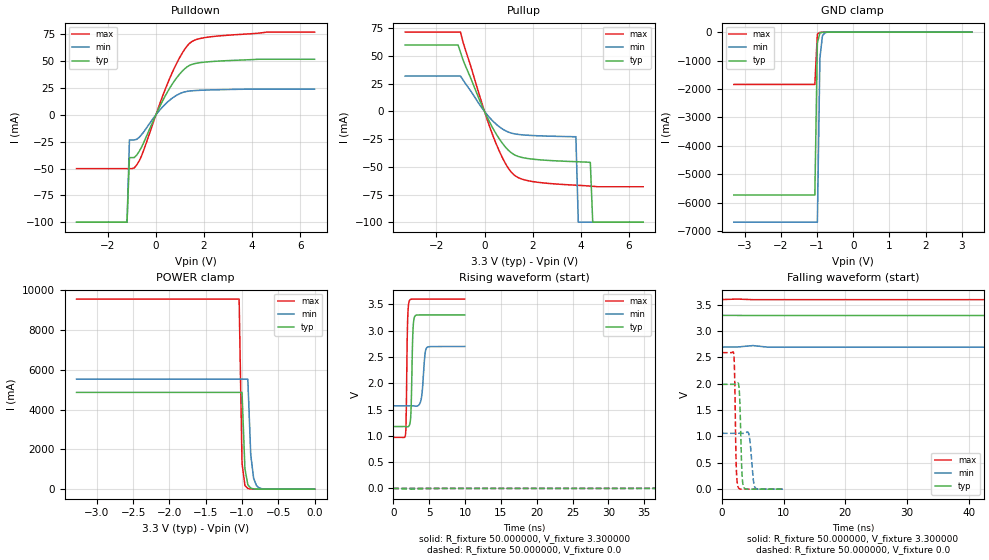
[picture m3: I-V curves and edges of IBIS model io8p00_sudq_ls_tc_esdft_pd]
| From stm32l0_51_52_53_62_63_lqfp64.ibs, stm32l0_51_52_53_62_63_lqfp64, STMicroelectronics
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|   Model io8p00_sudq_ls_tc_esdft_pd
[Model]  io8p00_sudq_ls_tc_esdft_pd
Model_type I/O
Polarity   Non-Inverting
Enable   Active-Low
Vinl =   0.990000V
Vinh =   2.310000V
Vmeas =  1.650000V
Cref =   50.000000pF
Rref =   100.000000M
Vref =   0.0V
C_comp   2.248300pF   2.207300pF   2.311900pF
[Temperature Range]   25.000000   0.125000k   -40.000000
[Pullup Reference]   3.300000V   2.700000V   3.600000V
[Pulldown Reference]   0.0V   0.0V   0.0V
[POWER Clamp Reference]   3.300000V   2.700000V   3.600000V
[GND Clamp Reference]   0.0V   0.0V   0.0V
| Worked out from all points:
|   slope of the pulldown table from 0 to 0.495 V, typ, clamps not added: 22.6 ohm
|   slope of the pullup table from 0 to 0.495 V, typ, clamps not added: 23.9 ohm
|   GND clamp passes 1 mA (typ) near -0.64 V on its own axis
|   POWER clamp passes 1 mA (typ) near -0.63 V on its own axis
|   rising waveform, R_fixture 50.000000, V_fixture 3.300000: 20-80 % time 209ps typ, 363ps min, 164ps max; typ from 1.18 V to 3.3 V
|   rising waveform, R_fixture 50.000000, V_fixture 0.0: 20-80 % time 210ns typ, 427ns min, 103ns max; typ from 0 V to 1.99 V
|   falling waveform, R_fixture 50.000000, V_fixture 3.300000: 20-80 % time 193ns typ, 384ns min, 106ns max; typ from 3.3 V to 1.18 V
|   falling waveform, R_fixture 50.000000, V_fixture 0.0: 20-80 % time 290ps typ, 458ps min, 227ps max; typ from 1.99 V to 0 V
[Pulldown]
|Voltage   I(typ)   I(min)   I(max)
-3.3V     -100mA     -100mA     -50.11mA
-1.2V     -100mA     -100mA     -50.11mA
-1.1V     -39.8mA    -23.38mA   -50.11mA
-900mV    -39.8mA    -23.38mA   -49.43mA
-600mV    -30.26mA   -18.59mA   -38.38mA
500mV     22.11mA    12.28mA    30.06mA
900mV     35.58mA    18.71mA    49.62mA
1.3V      44.74mA    21.88mA    64.23mA
1.7V      48.13mA    22.72mA    70.3mA
2.4V      49.79mA    23.3mA     73.03mA
4.6V      51.8mA     24mA       77.1mA
6.6V      51.8mA     24mA       77.1mA
[Pullup]
|Voltage   I(typ)   I(min)   I(max)
-3.3V     60mA       32mA       71.7mA
-1.1V     60mA       32mA       71.7mA
-1V       53.5mA     32mA       71.7mA
-100mV    4.893mA    2.926mA    6.861mA
400mV     -17.21mA   -9.812mA   -24.69mA
900mV     -32.92mA   -17.72mA   -48.15mA
1.3V      -39.75mA   -20.4mA    -58.47mA
3.8V      -45.36mA   -22.8mA    -66.6mA
3.9V      -45.44mA   -100mA     -66.72mA
4.4V      -46mA      -100mA     -67.4mA
4.5V      -100mA     -100mA     -67.56mA
6.6V      -100mA     -100mA     -68mA
[GND_clamp]
|Voltage   I(typ)   I(min)   I(max)
-3.3V     -5.732A    -6.689A    -1.842A
-1.06V    -5.732A    -6.689A    -1.842A
-990mV    -389.4mA   -6.689A    -68.35mA
-920mV    -32.58mA   -918.2mA   -10.73mA
-850mV    -6.776mA   -131mA     -6.518mA
-780mV    -3.484mA   -21.02mA   -4.216mA
3.28V     74.9uA     89.13uA    52.44uA
[POWER_clamp]
|Voltage   I(typ)   I(min)   I(max)
-3.28V    4.87A      5.538A     9.569A
-1.04V    4.87A      5.538A     9.569A
-1V       4.87A      5.538A     1.315A
-960mV    1.032A     5.538A     186.5mA
-920mV    222.2mA    5.538A     31.64mA
-880mV    50.73mA    1.734A     9.582mA
-840mV    13.93mA    544.8mA    5.668mA
-800mV    5.556mA    172.7mA    4.276mA
-760mV    3.231mA    55.84mA    3.297mA
-680mV    1.597mA    6.983mA    1.741mA
0V        0A         0A         0A
[Ramp]
| variable   typ   min   max
dV/dt_r  1.19412/0.20970u   0.60618/0.42769u   1.55520/0.10339u
dV/dt_f  1.27242/0.19304u   0.63624/0.38498u   1.57760/0.10596u
R_load = 50.000000
[Rising Waveform]
R_fixture= 50.000000
V_fixture= 3.300000
V_fixture_min= 2.700000
V_fixture_max= 3.600000
|time   V(typ)   V(min)   V(max)
0s        1.176V     1.571V     969.9mV
1.702ns   1.176V     1.571V     1.02V
2.002ns   1.172V     1.571V     3.192V
2.262ns   1.207V     1.571V     3.571V
2.482ns   1.517V     1.571V     3.595V
2.743ns   2.989V     1.569V     3.598V
2.963ns   3.261V     1.567V     3.599V
3.904ns   3.298V     1.705V     3.599V
4.645ns   3.299V     2.67V      3.599V
9.97ns    3.299V     2.698V     3.599V
[Rising Waveform]
R_fixture= 50.000000
V_fixture= 0.0
V_fixture_min= 0.0
V_fixture_max= 0.0
|time   V(typ)   V(min)   V(max)
0s        1.794nV    13.74nV    3.926nV
55.06ns   275.8uV    -16.63uV   81.26mV
112.6ns   80.83mV    125.2uV    963.1mV
177.7ns   429mV      2.008mV    1.946V
215.2ns   684.1mV    10.02mV    2.277V
272.8ns   1.075V     45.95mV    2.493V
412.9ns   1.683V     221.8mV    2.581V
545.5ns   1.894V     454.1mV    2.591V
858.4ns   1.983V     872.6mV    2.592V
1.246us   1.99V      1.06V      2.592V
[Falling Waveform]
R_fixture= 50.000000
V_fixture= 3.300000
V_fixture_min= 2.700000
V_fixture_max= 3.600000
|time   V(typ)   V(min)   V(max)
0s        3.299V     2.698V     3.599V
82.58ns   3.296V     2.695V     3.494V
145.1ns   3.209V     2.695V     2.587V
210.2ns   2.863V     2.692V     1.628V
247.7ns   2.608V     2.682V     1.251V
282.8ns   2.359V     2.664V     1.094V
397.9ns   1.617V     2.541V     997.6mV
510.5ns   1.321V     2.352V     978.9mV
863.4ns   1.191V     1.753V     970.4mV
1.246us   1.176V     1.571V     969.9mV
[Falling Waveform]
R_fixture= 50.000000
V_fixture= 0.0
V_fixture_min= 0.0
V_fixture_max= 0.0
|time   V(typ)   V(min)   V(max)
0s        1.99V      1.06V      2.592V
1.922ns   1.99V      1.06V      2.568V
2.322ns   1.991V     1.06V      448.6mV
2.643ns   2.015V     1.06V      36.53mV
2.883ns   1.723V     1.06V      6.041mV
3.263ns   276.2mV    1.06V      445.6uV
3.524ns   40.19mV    1.06V      159.9uV
4.404ns   152uV      1.027V     69.55uV
5.385ns   47.55uV    28.29mV    33.7uV
9.97ns    1.794nV    13.74nV    3.926nV
